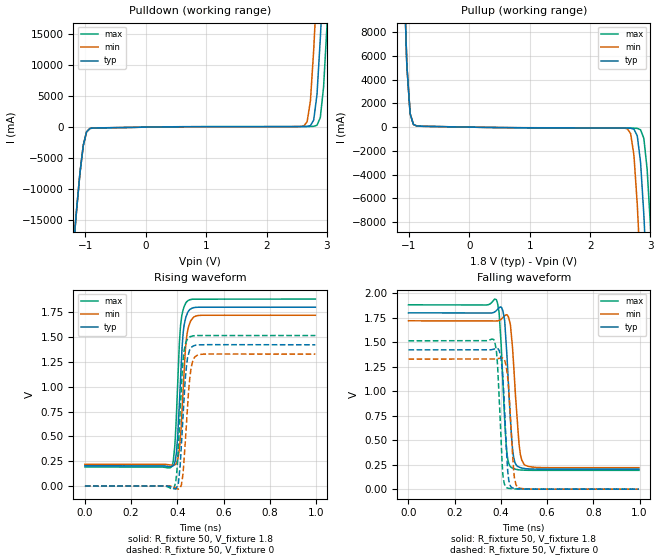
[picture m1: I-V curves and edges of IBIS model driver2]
| IBIS file inv_chain_tr200ps.ibs created by PYS2IBIS3
| Missouri S&T EMC Lab
[IBIS Ver] 7.1
[File Name] inv_chain_tr200ps.ibs
[File Rev] 1.0
[Date] Jul 27, 2026
[Source] Eight-stage inv_chain transistor model characterized with s2ibispy
[Notes] Parameter selection; sim_time=9.970e-10, tr=tf=2.000e-10.
[Component] invchain
[Manufacturer] s2ibispy study
[Package]
| variable   typ   min   max
R_pkg 0 NA NA
L_pkg 0H NA NA
C_pkg 0F NA NA
[Pin]  signal_name   model_name   R_pin   L_pin   C_pin
VSSQ   VSSQ   Gnd
VCCQ   VCCQ   Power
| IN IN dummy
PAD   PAD   driver2
| End of Component
| Models and submodels in the file (1): driver2 (Output)
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[Model] driver2
Model_type Output
Polarity Non-Inverting
Enable Active-High
Vinl  = 0.8V
Vinh  = 2V
C_comp 0.4680pF NA NA
[Temperature Range] 27.0000 27.0000 27.0000
[Voltage Range] 1.8000V 1.7000V 1.9000V
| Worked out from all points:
|   slope of the pulldown table from 0 to 0.27 V, typ, clamps not added: 6.79 ohm
|   slope of the pullup table from 0 to 0.27 V, typ, clamps not added: 12.6 ohm
|   rising waveform, R_fixture 50, V_fixture 1.8: 20-80 % time 20.5ps typ, 22.2ps min, 19.4ps max; typ from 0.204 V to 1.8 V
|   rising waveform, R_fixture 50, V_fixture 0: 20-80 % time 22ps typ, 23.3ps min, 20.5ps max; typ from 0 V to 1.42 V
|   falling waveform, R_fixture 50, V_fixture 1.8: 20-80 % time 23.1ps typ, 25.2ps min, 21.1ps max; typ from 1.8 V to 0.204 V
|   falling waveform, R_fixture 50, V_fixture 0: 20-80 % time 18.4ps typ, 20ps min, 17.5ps max; typ from 1.42 V to 0 V
[Pulldown]
| Voltage   I(typ)   I(min)   I(max)
-1.8V     -87.88A    -87.88A    -87.88A
-1.2V     -19.4A     -19.4A     -19.4A
-1.036V   -2.952A    -2.948A    -2.955A
-927.3mV  -221.8mA   -216.4mA   -227mA
2.618V    95.77mA    193.1mA    97.15mA
2.727V    244.8mA    4.224A     106.4mA
2.782V    1.151A     12.49A     132.5mA
2.836V    5.27A      23.04A     313.7mA
2.891V    14.25A     33.59A     1.533A
2.946V    24.81A     44.15A     6.464A
3V        35.36A     54.71A     16.02A
3.6V      151.5A     170.8A     132.1A
[Pullup]
| Voltage   I(typ)   I(min)   I(max)
-1.8V     151.4A     151.4A     151.4A
-1.091V   14.2A      14.19A     14.2A
-981.8mV  1.13A      1.129A     1.132A
-872.7mV  99.18mA    97.54mA    100.6mA
2.618V    -78.19mA   -142.5mA   -79.21mA
2.727V    -177.2mA   -2.408A    -86.52mA
2.782V    -728.3mA   -6.523A    -104.6mA
2.836V    -2.952A    -12.18A    -222.3mA
2.891V    -7.391A    -18.4A     -950.7mA
2.946V    -13.22A    -24.62A    -3.561A
3V        -19.44A    -30.85A    -8.297A
3.6V      -87.92A    -99.33A    -76.52A
[Ramp]
| variable   typ   min   max
dV/dt_r 0.8532/0.0217n 0.7968/0.02336n 0.9090/0.02059n
dV/dt_f 0.9575/0.02293n 0.8972/0.02483n 1.0171/0.02153n
R_load = 50
[Rising Waveform]
R_fixture = 50
V_fixture = 1.8
|time   V(typ)   V(min)   V(max)
0s        204.2mV    219.5mV    192.2mV
375.2ps   196.1mV    210.2mV    199.4mV
390.2ps   249mV      215.6mV    452mV
401.2ps   479.3mV    269.9mV    1.01V
409.2ps   844.2mV    382.1mV    1.458V
424.1ps   1.526V     924mV      1.768V
433.1ps   1.667V     1.319V     1.826V
443.1ps   1.739V     1.548V     1.862V
490ps     1.8V       1.717V     1.882V
997ps     1.8V       1.719V     1.882V
[Rising Waveform]
R_fixture = 50
V_fixture = 0
|time   V(typ)   V(min)   V(max)
0s        13.08nV    12.76nV    13.48nV
384.2ps   -26.3mV    -9.562mV   -22.82mV
399.2ps   -4.438mV   -28.42mV   187.5mV
411.2ps   172mV      -20.12mV   722.1mV
420.2ps   515.3mV    52.62mV    1.124V
438.1ps   1.189V     593.4mV    1.453V
453.1ps   1.37V      1.077V     1.5V
468.1ps   1.409V     1.265V     1.512V
496ps     1.422V     1.324V     1.515V
997ps     1.422V     1.328V     1.515V
[Falling Waveform]
R_fixture = 50
V_fixture = 1.8
|time   V(typ)   V(min)   V(max)
0s        1.8V       1.719V     1.882V
380.2ps   1.823V     1.717V     1.934V
396.2ps   1.86V      1.727V     1.672V
416.2ps   1.718V     1.77V      707.2mV
428.1ps   1.263V     1.777V     321.2mV
444.1ps   587.9mV    1.608V     222.6mV
455.1ps   322.5mV    1.267V     209.1mV
478ps     225.1mV    467.2mV    197.1mV
501ps     210.9mV    250.8mV    193.6mV
997ps     204.2mV    219.5mV    192.2mV
[Falling Waveform]
R_fixture = 50
V_fixture = 0
|time   V(typ)   V(min)   V(max)
0s        1.422V     1.328V     1.515V
370.3ps   1.43V      1.328V     1.522V
385.2ps   1.435V     1.333V     1.273V
402.2ps   1.3V       1.34V      390mV
410.2ps   1.068V     1.336V     114mV
424.1ps   390.5mV    1.236V     15.6mV
434.1ps   88.69mV    1.008V     8.362mV
453.1ps   10.19mV    238.1mV    3.307mV
470.1ps   4.435mV    21.92mV    1.381mV
997ps     10.74nV    13.1nV     11.89nV
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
